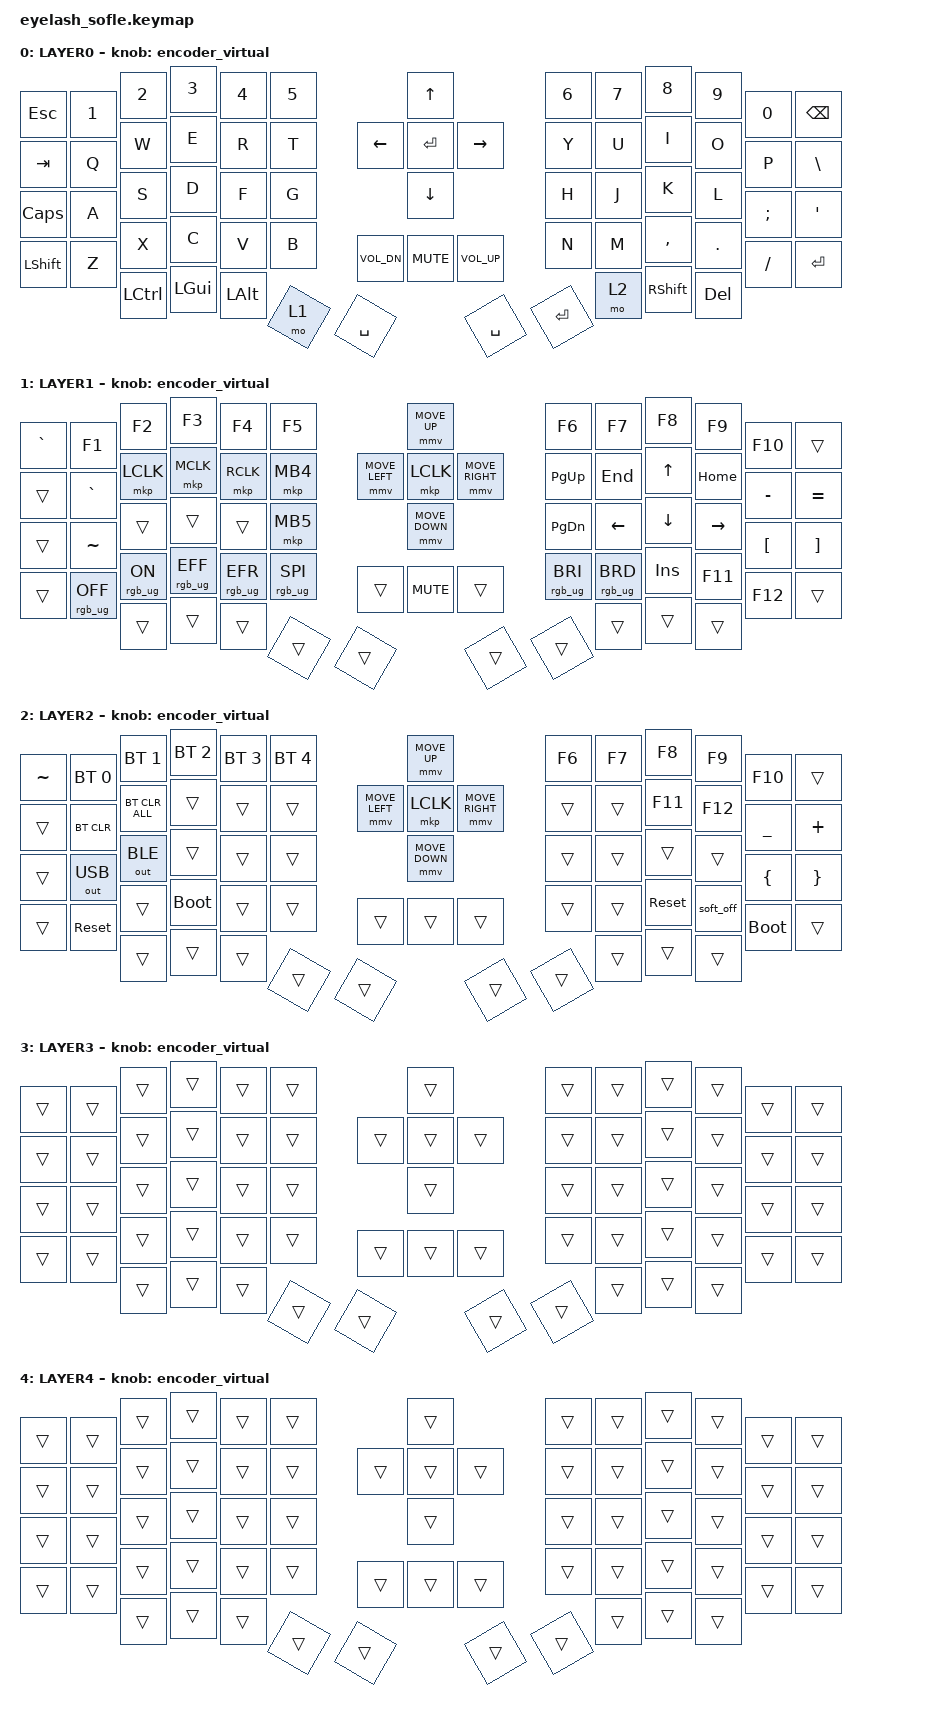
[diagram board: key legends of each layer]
#define ZMK_POINTING_DEFAULT_MOVE_VAL 1200  // 600
#define ZMK_POINTING_DEFAULT_SCRL_VAL 25   // 10

#include <input/processors.dtsi>
#include <zephyr/dt-bindings/input/input-event-codes.h>
#include <behaviors.dtsi>
#include <behaviors/runtime-sensor-rotate.dtsi>
#include <dt-bindings/zmk/bt.h>
#include <dt-bindings/zmk/keys.h>
#include <dt-bindings/zmk/outputs.h>
#include <dt-bindings/zmk/pointing.h>
#include <dt-bindings/zmk/rgb.h>
#include <dt-bindings/zmk/eyelash_sofle.h>

&mmv_input_listener { input-processors = <&zip_xy_scaler 2 1>; };

&msc_input_listener { input-processors = <&zip_scroll_scaler 2 1>; };

&msc {
    acceleration-exponent = <1>;      // 0
    time-to-max-speed-ms = <100>;       // 300
    delay-ms = <0>;                   // 0
};

&mmv {
    time-to-max-speed-ms = <500>;
    acceleration-exponent = <1>;
    trigger-period-ms = <16>;
};

&soft_off { hold-time-ms = <2000>; };

/ {
    scroll_encoder: scroll_encoder {
        compatible = "zmk,behavior-sensor-rotate";
        #sensor-binding-cells = <0>;
        bindings = <&msc SCRL_DOWN>, <&msc SCRL_UP>;

        tap-ms = <100>;
    };

    behaviors {
        encoder_key: encoder_key {
            compatible = "zmk,behavior-sofle-encoder-key";
            #binding-cells = <1>;
        };

        encoder_virtual: encoder_virtual {
            compatible = "zmk,behavior-sensor-rotate";
            #sensor-binding-cells = <0>;
            bindings = <&encoder_key SOFLE_ENCODER_CW_POSITION>,
                       <&encoder_key SOFLE_ENCODER_CCW_POSITION>;
            tap-ms = <5>;
        };

        rsr_vol: rsr_vol {
            compatible = "zmk,behavior-runtime-sensor-rotate";
            #sensor-binding-cells = <0>;
            tap-ms = <5>;
            cw-binding = <&kp C_VOL_UP>;
            ccw-binding = <&kp C_VOL_DN>;
        };

        rsr_trans: rsr_trans {
            compatible = "zmk,behavior-runtime-sensor-rotate";
            #sensor-binding-cells = <0>;
            tap-ms = <0>;
        };
    };

    macros {
        SHIFT_MCLK: SHIFT_MCLK {
            compatible = "zmk,behavior-macro";
            #binding-cells = <0>;
            bindings =
                <&macro_press>,
                <&kp LEFT_SHIFT>,
                <&macro_press>,
                <&mkp MB3>,
                <&macro_pause_for_release>,
                <&macro_release>,
                <&kp LEFT_SHIFT &mkp MB3>;

            label = "SHIFT_MCLK";
        };
    };

    keymap {
        compatible = "zmk,keymap";

        layer0 {
            bindings = <
&kp ESC     &kp N1     &kp N2        &kp N3        &kp N4  &kp N5       &kp UP_ARROW     &kp N6     &kp N7     &kp N8     &kp N9           &kp N0      &kp BACKSPACE
&kp TAB     &kp Q      &kp W         &kp E         &kp R   &kp T        &kp DOWN_ARROW   &kp Y      &kp U      &kp I      &kp O            &kp P       &kp BSLH
&kp CAPS    &kp A      &kp S         &kp D         &kp F   &kp G        &kp LEFT_ARROW   &kp H      &kp J      &kp K      &kp L            &kp SEMI    &kp APOS
&kp LSHFT   &kp Z      &kp X         &kp C         &kp V   &kp B        &kp RIGHT_ARROW  &kp N      &kp M      &kp COMMA  &kp DOT          &kp FSLH    &kp ENTER
&kp C_MUTE  &kp LCTRL  &kp LEFT_GUI  &kp LEFT_ALT  &mo 1   &kp SPACE    &kp ENTER        &kp SPACE  &kp ENTER  &mo 2      &kp RIGHT_SHIFT  &kp DELETE
// Encoder counterclockwise / clockwise (editable in ZMK Studio).
&kp C_VOL_DN  &kp C_VOL_UP
            >;

            sensor-bindings = <&encoder_virtual>;
            display-name = "LAYER0";
        };

        layer_1 {
            bindings = <
&kp GRAVE   &kp F1           &kp F2          &kp F3           &kp F4           &kp F5             &mmv MOVE_UP     &kp F6           &kp F7           &kp F8      &kp F9     &kp F10           &trans
&trans      &kp GRAVE        &mkp LCLK       &mkp MCLK        &mkp RCLK        &mkp MB4           &mmv MOVE_DOWN   &kp PG_UP        &kp END          &kp UP      &kp HOME   &kp MINUS         &kp EQUAL
&trans      &kp TILDE        &trans          &trans           &trans           &mkp MB5           &mmv MOVE_LEFT   &kp PG_DN        &kp LEFT         &kp DOWN    &kp RIGHT  &kp LEFT_BRACKET  &kp RIGHT_BRACKET
&trans      &rgb_ug RGB_OFF  &rgb_ug RGB_ON  &rgb_ug RGB_EFF  &rgb_ug RGB_EFR  &rgb_ug RGB_SPI    &mmv MOVE_RIGHT  &rgb_ug RGB_BRI  &rgb_ug RGB_BRD  &kp INSERT  &kp F11    &kp F12           &trans
&kp C_MUTE  &trans           &trans          &trans           &trans           &trans             &mkp LCLK        &trans           &trans           &trans      &trans     &trans
// Encoder counterclockwise / clockwise (editable in ZMK Studio).
&trans  &trans
            >;

            sensor-bindings = <&encoder_virtual>;
            display-name = "LAYER1";
        };

        layer_2 {
            bindings = <
&kp TILDE  &bt BT_SEL 0  &bt BT_SEL 1    &bt BT_SEL 2  &bt BT_SEL 3  &bt BT_SEL 4    &mmv MOVE_UP     &kp F6  &kp F7  &kp F8      &kp F9     &kp F10      &trans
&trans     &bt BT_CLR    &bt BT_CLR_ALL  &trans        &trans        &trans          &mmv MOVE_DOWN   &trans  &trans  &kp F11     &kp F12    &kp UNDER    &kp PLUS
&trans     &out OUT_USB  &out OUT_BLE    &trans        &trans        &trans          &mmv MOVE_LEFT   &trans  &trans  &trans      &trans     &kp LBRC     &kp RBRC
&trans     &sys_reset    &trans          &bootloader   &trans        &trans          &mmv MOVE_RIGHT  &trans  &trans  &sys_reset  &soft_off  &bootloader  &trans
&trans     &trans        &trans          &trans        &trans        &trans          &mkp LCLK        &trans  &trans  &trans      &trans     &trans
// Encoder counterclockwise / clockwise (editable in ZMK Studio).
&trans  &trans
            >;

            display-name = "LAYER2";
            sensor-bindings = <&encoder_virtual>;
        };

        layer_3 {
            bindings = <
&trans  &trans  &trans  &trans  &trans  &trans    &trans  &trans  &trans  &trans  &trans  &trans  &trans
&trans  &trans  &trans  &trans  &trans  &trans    &trans  &trans  &trans  &trans  &trans  &trans  &trans
&trans  &trans  &trans  &trans  &trans  &trans    &trans  &trans  &trans  &trans  &trans  &trans  &trans
&trans  &trans  &trans  &trans  &trans  &trans    &trans  &trans  &trans  &trans  &trans  &trans  &trans
&trans  &trans  &trans  &trans  &trans  &trans    &trans  &trans  &trans  &trans  &trans  &trans
// Encoder counterclockwise / clockwise (editable in ZMK Studio).
&trans  &trans
            >;

            display-name = "LAYER3";
            sensor-bindings = <&encoder_virtual>;
        };

        layer_4 {
            bindings = <
&trans  &trans  &trans  &trans  &trans  &trans    &trans  &trans  &trans  &trans  &trans  &trans  &trans
&trans  &trans  &trans  &trans  &trans  &trans    &trans  &trans  &trans  &trans  &trans  &trans  &trans
&trans  &trans  &trans  &trans  &trans  &trans    &trans  &trans  &trans  &trans  &trans  &trans  &trans
&trans  &trans  &trans  &trans  &trans  &trans    &trans  &trans  &trans  &trans  &trans  &trans  &trans
&trans  &trans  &trans  &trans  &trans  &trans    &trans  &trans  &trans  &trans  &trans  &trans
// Encoder counterclockwise / clockwise (editable in ZMK Studio).
&trans  &trans
            >;

            display-name = "LAYER4";
            sensor-bindings = <&encoder_virtual>;
        };
    };
};
